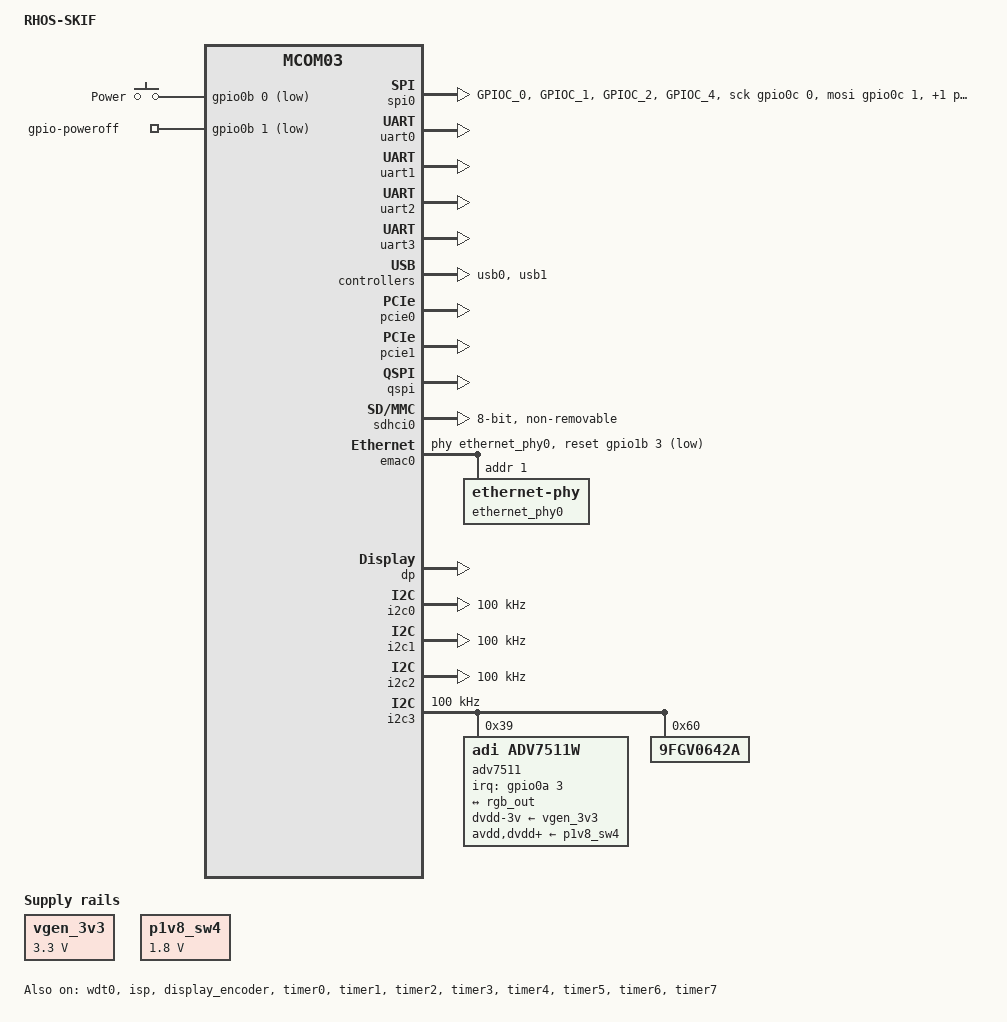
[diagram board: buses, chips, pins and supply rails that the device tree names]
// SPDX-License-Identifier: GPL-2.0+
/*
 * Copyright 2021 RnD Center "ELVEES", JSC
 * Copyright 2022 Radioavionica Corp
 */

/dts-v1/;

#include <dt-bindings/gpio/gpio.h>
#include <dt-bindings/input/input.h>
#include "./../elvees/mcom03.dtsi"

#define DISABLE_HW_SPI		/* not have driver this time		 */
#define DISABLE_MIPI		/* sn65dsi83 ananced in next kernel only */
#define DISABLE_BLUETOOTH	/* debug only - need sure USART3 work OK */

/ {
	model = "RHOS-SKIF";
	compatible = "ravion,rhos-skif",
		     "elvees,rhos-skif",
		     "elvees,mcom03";

	aliases {
	    spi0 = &spi0;
	    spi1 = &spi1;
	    spi2 = &qspi;
	};

	vgen_3v3: regulator@0 { /* source volatege */
		compatible = "regulator-fixed";
		regulator-name = "vgen_3v3";
		regulator-min-microvolt = <3300000>;
		regulator-max-microvolt = <3300000>;
		regulator-always-on;
	};

	p1v8_sw4: regulator@1 { /* PMIC SW4 in real world, quick fixup */
		compatible = "regulator-fixed";
		regulator-name = "p1v8_sw4";
		regulator-min-microvolt = <1800000>;
		regulator-max-microvolt = <1800000>;
		regulator-always-on;
	};

	gpio-keys {
#if 0 /* gpio-keys gpio-keys: Unable to get irq number for GPIO 0, error -6 */
		compatible = "gpio-keys";
#else /* polled keys can't be wakeup source - need to be fixed !!! */
		compatible = "gpio-keys-polled";
		poll-interval = <25>;
#endif
		pinctrl-names = "default";
		pinctrl-0 = <&pwr_btn>;

		power {
			label = "Power";
			gpios = <&gpio0b 0 GPIO_ACTIVE_LOW>;				/* soDimm 139 */
			linux,code = <KEY_POWER>;
			debounce-interval = <100>;
		};
	};

	gpio-poweroff {
		compatible = "gpio-poweroff";
		pinctrl-names = "default";
		pinctrl-0 = <&pwr_kill>;

		gpios = <&gpio0b 1 GPIO_ACTIVE_LOW >;					/* soDimm 141 */
	};

	spi0: spi0 {
		comment = "Must be in mcom03.dtsi";
	};

	spi1: spi1 {
		comment = "Must be in mcom03.dtsi";
	};

};

/*
 * Dedicated consolenected to FT232 on KiTSBiMX8
 */
&uart0	{	status = "okay";	};

/*
 * General purpose uarts
 */
&uart1	{	status = "okay";	};
&uart2	{	status = "okay";	};
&uart3	{	status = "okay";	};

/* Watchdog */
&wdt0	{	status = "okay";	};

/*
 * USB 3.0 interfaces
 */
&usb0	{	status = "okay";	};
&usb1	{	status = "okay";	};

/*
 * PCIe 4-lanes
 */
&pcie0	{	status = "okay";	};
&pcie1	{	status = "okay";	};

/*
 * Storage devices
 */
/* QSPI */
&qspi	{	status = "okay";	};

/* eMMC */
&sdhci0 {
	status = "okay";

	non-removable;
	bus-width = <8>;

	vqmmc-supply = <&p1v8_sw4>;
};

/*
 * Ethernet
 */
&emac0 {
	pinctrl-names = "default";
	pinctrl-0 = <&emac0_default>;

	phy-handle = <&ethernet_phy0>;
	reset-gpios = <&gpio1b 3 GPIO_ACTIVE_LOW>;
	reset-post-delay-us = <200>;

	ethernet_phy0: ethernet-phy@1 {
		reg = <0x1>;
	};
};

/*
 * Graphics (output)
 */
&isp { /* What's this? */
	status = "okay";
};

/* ARM,MALI-DP550 */
&dp {
	status = "okay";
};

/* Elvees display encoder */
&display_encoder {
	status = "okay";

	ports {
#if defined DISABLE_MIPI
		/delete-node/ port@1;
#else
		port@1 { /* DSI interface */
			reg = <1>;

			dsi_out: endpoint {
				/* remote-endpoint on platform level */
			};
		};
#endif
		port@2 {
			reg = <2>;

			rgb_out: endpoint {
				remote-endpoint = <&adv7511_in>;
			};
		};
	};
};

/*
 * Graphics (capture) - NU this time
 *
&csi0 {
	status = "okay";
}; */

/*
 * InterIcCommunication - I2C
 */
&i2c0 {
	clock-frequency = <100000>;
	status = "okay";
};

&i2c1 {
	clock-frequency = <100000>;
	status = "okay";
};

&i2c2 {
	clock-frequency = <100000>;
	status = "okay";
};

&i2c3 { /* internal use I2C */
	clock-frequency = <100000>;
	status = "okay";

	adv7511@39 { /* HDMI transmitter */
		compatible = "adi,adv7511w";
		status = "okay";
		reg = <0x39>, <0x3f>;
		reg-names = "main", "edid";
		interrupt-parent = <&gpio0a>;
		interrupts = <3 IRQ_TYPE_EDGE_FALLING>;

		adi,input-depth = <8>;
		adi,input-colorspace = "rgb";
		adi,input-clock = "1x";
		#address-cells = <1>;
		#size-cells = <0>;

		dvdd-3v-supply = <&vgen_3v3>;
		avdd-supply = <&p1v8_sw4>;
		dvdd-supply = <&p1v8_sw4>;
		pvdd-supply = <&p1v8_sw4>;
		bgvdd-supply = <&p1v8_sw4>;

		pinctrl-names = "default";
		pinctrl-0 = <&hdmi_int>;

		port@0 {
			reg = <0>;
			adv7511_in: endpoint {
				remote-endpoint = <&rgb_out>;
			};
		};

		port@1 {
			reg = <1>;
			hdmi_tx: endpoint {
				/* remote endpoint will be on high level */
			};
		};

		port@2 {
			reg = <2>;
			codec_ep: endpoint {
				/* remote endpoint on hsperiph BC23, AY24, BA24
				   not supported this time                       */
			};
		};
	};

	9FGV0642A@60 { /* PCIe clock generator */
		reg = <0x60>;
		status = "okay";
	};
};

/* i2c4 will be added after start working */

/*
 * Serial Peripheral Interface (where??? NU this time?)
 */
&spi0 {
#if defined DISABLE_HW_SPI
	compatible = "spi-gpio";
	pinctrl-names = "default";
	pinctrl-0 = <&spi0_gpio>;

	#address-cells = <0x1>;
	#size-cells = <0x0>;

	sck-gpios	= <&gpio0c 0 0>;
	mosi-gpios	= <&gpio0c 1 0>;
	miso-gpios	= <&gpio0c 2 0>;
	cs-gpios	= <&gpio0c 4 0>;
	num-chipselects = <1>;
#else /*not DISABLE_HW_SPI */
	compatible = "elvees,spi-contoller";
#endif
	status = "okay";
};

&spi1 {
	status = "disabled";
};

/*
 * Timers (we really need all of them???)
 */
&timer0	{	status = "okay";	};
&timer1	{	status = "okay";	};
&timer2	{	status = "okay";	};
&timer3	{	status = "okay";	};
&timer4	{	status = "okay";	};
&timer5	{	status = "okay";	};
&timer6	{	status = "okay";	};
&timer7	{	status = "okay";	};

/*
 * ToDo: May be just delete unused, not delete all and reconfigure
 */

&gpio0a {
	gpio-line-names =
		"UART3_RXD",	"UART3_TXD",	"UART3_CTS",	"HDMI_INT",
		"PMIC_INT#",	"UIO1_1",	"UIO1_2",	"UART3_RTS";

	/delete-node/ uart3_mux_data;
	/delete-node/ uart3_mux_modem;

	gpio0a_mux_data: gpio0a-mux-data {
		data {
#ifdef DISABLE_BLUETOOTH
			groups = "pin0", "pin1";
#else
			groups = "pin0", "pin1", "pin2", "pin7";
#endif
			function = "HW";
		};
	};
};

&gpio0b {
	gpio-line-names =
		"POWER_BTN",	"POWER_KILL",	"UIO1_5",	"UIO1_6",
		"UIO1_7",	"UART1_RXD",	"UART1_TXD",	"UART2_RXD";

	/delete-node/ uart3_portb_mux_modem;
	/delete-node/ uart3_mux_rs485;
	/delete-node/ uart1_mux_data;
	/delete-node/ uart2_portb_mux_data;

	gpio0b_mux_data: gpio0b-mux-data {
		data {
			groups = "pin5", "pin6", "pin7";
			function = "HW";
		};
	};
};

&gpio0c {
	gpio-line-names =
		"SPI_CLK",	"SPI_MOSI",	"SPI_MISO",	"UIO1_8",
		"SPI_CS",	"UIO2_1",	"UIO2_2",	"UIO2_3";

	/delete-node/ spi0_mux_data;
	/delete-node/ spi0_mux_ss_in;
	/delete-node/ spi0_mux_ss0;
	/delete-node/ spi0_mux_ss1;
	/delete-node/ spi0_mux_ss2;
	/delete-node/ spi0_mux_ss3;

#if defined DISABLE_HW_SPI
	/* do noting - SPI pins accessible as GPIO */
#else /*not DISABLE_HW_SPI */
	gpio0c_mux_data: gpio0c-mux-data {
		data {
			groups = "pin0", "pin1", "pin2", "pin4";
			function = "HW";
		};
	};
#endif
};

&gpio0d {
	gpio-line-names =
		"UART2_TXD",	"UIO2_4",	"UIO2_5",	"SMB_SCL",
		"SMD_SDA",	"SMB_ALERT",	"SMB_IN",	"SMB_OUT";

	/delete-node/ uart2_portd_mux_data;
	/delete-node/ uart2_mux_irda;
	/delete-node/ i2c0_mux_data;
	/delete-node/ i2c0_mux_smbalert;
	/delete-node/ i2c0_mux_smbus;

	gpio0d_mux_data: gpio0d-mux-data {
		data {
			groups = "pin0", "pin3", "pin4";
			function = "HW";
		};
	};
};


&gpio1a {
	gpio-line-names =
		"I2C1_SCL",	"I2C1_SDA",	"I2C2_SCL",	"I2C2_SDA",
		"I2C3_SCL",	"I2C3_SDA",	"UIO1_3",	"UIO1_4";

	/delete-node/ i2c1_mux_data;
	/delete-node/ i2c2_mux_data;
	/delete-node/ i2c3_mux_data;

	gpio1a_mux_data: gpio1a-mux-data {
		data {
			groups = "pin0", "pin1", "pin2", "pin3", "pin4", "pin5";
			function = "HW";
		};
	};
};

&gpio1b {
	gpio-line-names =
		"I2S_SCLK",	"I2S_WS",	"I2S_TXDAT0",	"ETHPHY_RESET",
		"I2S_RXDAT0",	"I2S_CLK_IN",	"UART0_TXD",	"UART1_RXD";

	/delete-node/ i2s0_mux_sdo0;
	/delete-node/ i2s0_mux_sdo1;
	/delete-node/ i2s0_mux_sdi0;
	/delete-node/ i2s0_mux_ext_clk;
	/delete-node/ uart0_mux_data;

	gpio1b_mux_data: gpio1b-mux-data {
		data {
			groups = "pin0", "pin1", "pin2", "pin4", "pin5", "pin6", "pin7";
			function = "HW";
		};
	};
};

&gpio1c {
	gpio-line-names =
		"UIO2_6",	"UIO2_7",	"UIO2_8",	"UIO3_1",
		"UIO3_2",	"UIO3_3",	"UIO3_4",	"UIO3_5";

	/delete-node/ spi1_mux_data;
	/delete-node/ spi1_mux_ss0;
	/delete-node/ spi1_mux_ss1;
	/delete-node/ spi1_mux_ss2;
	/delete-node/ spi1_mux_ss3;
	/delete-node/ spi1_mux_ss_in;
};

&gpio1d {
	gpio-line-names =
		"PWM0",		"PWM1",		"UIO3_6",	"UIO3_7",
		"UIO3_8",	"PCI0_PERSTn",	"PCI1_PERSTn",	"GPIO1_PORTD_7";

	/delete-node/ timer0_toggle_mux;
	/delete-node/ timer1_toggle_mux;
	/delete-node/ pwm_oena0_mux;
	/delete-node/ pwm_oenb0_mux;
	/delete-node/ pwm_oena1_mux;
	/delete-node/ pwm_oenb1_mux;
	/delete-node/ pwm_tu0_mux;
	/delete-node/ pwm_tu1_mux;

	gpio1d_mux_data: gpio1d-mux-data {
		data {
			groups = "pin0", "pin1";
			function = "HW";
		};
	};
};

&hsperiph_pinctrl {
	pinctrl-0 = <&hsperiph_misc_default &emac_v18>;
};


&lsperiph0_pinctrl {
	pwr_btn: pwr-btn {
		pins = "GPIOB_0";
		bias-pull-up;
	};

	pwr_kill: pwr-kill {
		pins = "GPIOB_1";
		bias-pull-up;
	};

	hdmi_int: hdmi-int {
		pins = "GPIOA_3";
		bias-pull-up;
	};

	pmic_int: pmic-int {
		pins = "GPIOA_4";
		bias-pull-up;
	};

	spi0_gpio: spi0-gpio {
		pins = "GPIOC_0", "GPIOC_1", "GPIOC_2", "GPIOC_4";
		bias-pull-up;
	};
};
